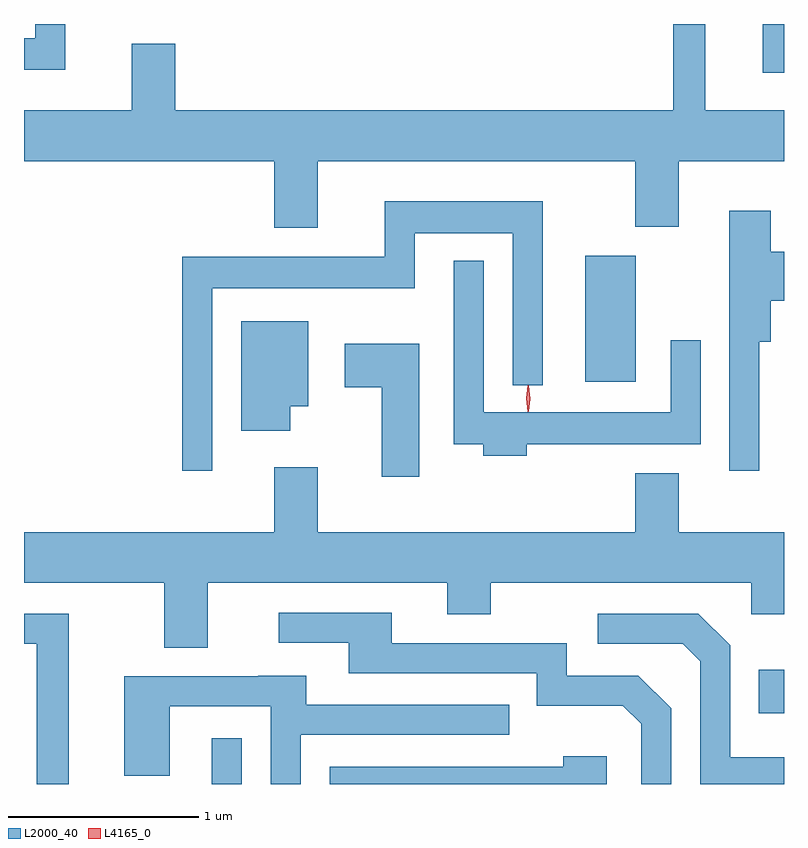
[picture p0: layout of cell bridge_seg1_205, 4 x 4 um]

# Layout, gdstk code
import gdstk
lib = gdstk.Library(unit=1e-6, precision=1e-09)
def R(c, l, rs):  # rectangles x0, y0, x1, y1
    for r in rs: c.add(gdstk.rectangle(r[:2], r[2:], *l))
def P(c, l, *ps):  # polygons
    for p in ps: c.add(gdstk.Polygon(p, *l))
L2000_40 = (2000, 40)
L4165_0 = (4165, 0)

bridge_seg1_205 = lib.new_cell('bridge_seg1_205')
R(bridge_seg1_205, L2000_40, [(801.591,956.238,801.749,956.478), (804.471,956.611,804.603,956.839), (803.556,958.356,803.824,959.019), (804.491,959.981,804.603,960.238)])
P(bridge_seg1_205, L2000_40, [(800.819,960.238),(800.661,960.238),(800.661,960.164),(800.603,960.164),(800.603,959.996),(800.819,959.996)],
  [(802.149,959.516),(803.821,959.516),(803.821,959.171),(804.049,959.171),(804.049,959.516),(804.603,959.516),(804.603,959.784),(804.189,959.784),(804.189,960.238),(804.021,960.238),(804.021,959.784),(801.399,959.784),(801.399,960.134),(801.171,960.134),(801.171,959.784),(800.603,959.784),(800.603,959.516),(801.921,959.516),(801.921,959.166),(802.149,959.166)],
  [(801.594,958.846),(802.659,958.846),(802.659,959.136),(803.176,959.136),(803.176,958.338),(803.334,958.338),(803.334,959.304),(802.501,959.304),(802.501,959.014),(801.436,959.014),(801.436,957.888),(801.594,957.888)],
  [(804.474,958.566),(804.534,958.566),(804.534,958.781),(804.603,958.781),(804.603,959.039),(804.534,959.039),(804.534,959.254),(804.316,959.254),(804.316,957.888),(804.474,957.888)],
  [(803.249,958.026),(804.164,958.026),(804.164,958.573),(804.006,958.573),(804.006,958.194),(803.024,958.194),(803.024,958.993),(802.866,958.993),(802.866,958.026),(803.021,958.026),(803.021,957.966),(803.249,957.966)],
  [(802.004,958.226),(802.099,958.226),(802.099,958.674),(801.746,958.674),(801.746,958.096),(802.004,958.096)],
  [(802.684,958.554),(802.291,958.554),(802.291,958.326),(802.486,958.326),(802.486,957.856),(802.684,957.856)],
  [(801.569,957.296),(802.831,957.296),(802.831,957.131),(803.059,957.131),(803.059,957.296),(804.431,957.296),(804.431,957.131),(804.603,957.131),(804.603,957.564),(804.049,957.564),(804.049,957.874),(803.821,957.874),(803.821,957.564),(802.149,957.564),(802.149,957.904),(801.921,957.904),(801.921,957.564),(800.603,957.564),(800.603,957.296),(801.341,957.296),(801.341,956.956),(801.569,956.956)],
  [(804.009,956.637),(803.837,956.809),(803.459,956.809),(803.459,956.979),(802.539,956.979),(802.539,957.139),(801.943,957.139),(801.943,956.981),(802.311,956.981),(802.311,956.821),(803.301,956.821),(803.301,956.651),(803.754,956.651),(803.851,956.554),(803.851,956.238),(804.009,956.238)],
  [(804.603,956.379),(804.319,956.379),(804.319,956.967),(804.152,957.134),(803.623,957.134),(803.623,956.976),(804.069,956.976),(804.161,956.884),(804.161,956.238),(804.603,956.238)],
  [(800.839,957.134),(800.603,957.134),(800.603,956.976),(800.671,956.976),(800.671,956.238),(800.839,956.238)],
  [(802.059,956.496),(803.158,956.496),(803.158,956.654),(802.089,956.654),(802.089,956.809),(801.835,956.809),(801.835,956.804),(801.131,956.804),(801.131,956.281),(801.369,956.281),(801.369,956.646),(801.901,956.646),(801.901,956.238),(802.059,956.238)],
  [(803.669,956.384),(803.441,956.384),(803.441,956.329),(802.211,956.329),(802.211,956.238),(803.669,956.238)])
P(bridge_seg1_205, L4165_0, [(803.258,958.2),(803.258,958.2),(803.248,958.266),(803.258,958.333),(803.258,958.333),(803.259,958.333),(803.268,958.266),(803.259,958.2)],
  [(803.255,958.197),(803.246,958.267),(803.255,958.336),(803.256,958.336),(803.256,958.336),(803.266,958.267),(803.256,958.197),(803.256,958.197)])

lib.write_gds('bridge_seg1_205.gds')
